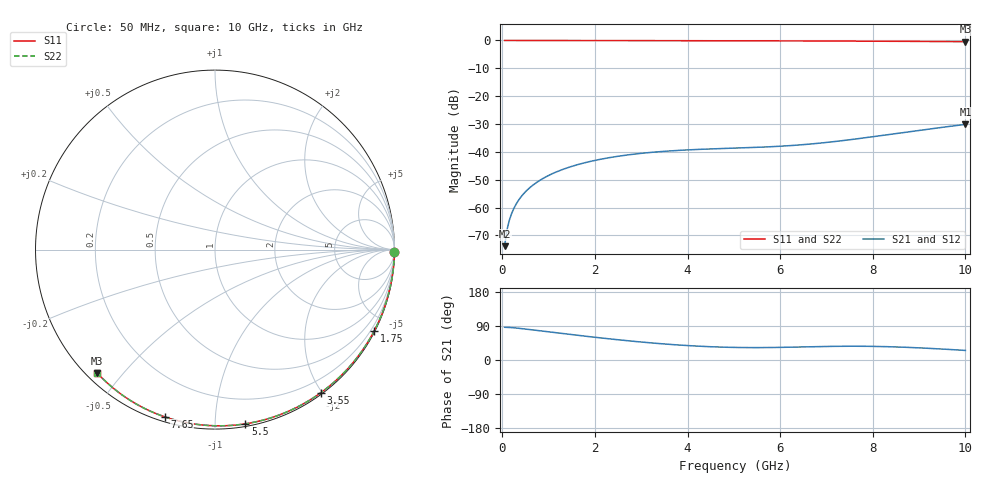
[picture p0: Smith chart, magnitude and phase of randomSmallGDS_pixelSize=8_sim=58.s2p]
! freq	dB(S11)	phase(S11)	dB(S12)	phase(S12)
!  dB(S21)	phase(S21)	dB(S22)	phase(S22)
!S-par simulation data
#  GHz  S  DB  R 50
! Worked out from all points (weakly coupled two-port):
!   200 points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, 50 MHz to 10 GHz, reference 50 ohm
!   highest |S21| = -30.13 dB at 10 GHz (marker M1); lowest = -73.8 dB at 50 MHz (marker M2)
!   lowest |S11| = -0.4 dB at 10 GHz (marker M3), VSWR 39.29, Z = 1.51 - j21.4 ohm
!   |S11| at or under -10 dB: nowhere
!   |S22| runs from -0.4 to 0.0 dB; largest |S21 - S12| = 0
!   S11 on the Smith chart (normalised r, x): 50 MHz: open; 1.75 GHz: 0.04, -4.15; 3.55 GHz: 0.02, -1.98; 5.5 GHz: 0.02, -1.19; 7.65 GHz: 0.02, -0.74; 10 GHz: 0.03, -0.43
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0.05  -0.00 -0.8  -73.84 86.4  -73.84 86.4  -0.00 -0.8
0.1  -0.00 -1.6  -68.08 86.2  -68.08 86.2  -0.00 -1.6
0.15  -0.00 -2.4  -64.65 85.9  -64.65 85.9  -0.00 -2.4
0.2  -0.00 -3.2  -62.19 85.5  -62.19 85.5  -0.00 -3.2
0.25  -0.00 -3.9  -60.27 85.0  -60.27 85.0  -0.00 -3.9
0.35  -0.00 -5.5  -57.38 83.8  -57.38 83.8  -0.00 -5.5
0.5  -0.01 -7.9  -54.32 81.7  -54.32 81.7  -0.01 -7.9
0.7  -0.01 -11.0  -51.45 78.8  -51.45 78.8  -0.01 -11.0
1  -0.02 -15.6  -48.46 74.3  -48.46 74.3  -0.02 -15.6
1.35  -0.03 -21.0  -46.02 69.2  -46.02 69.2  -0.03 -21.0
1.75  -0.03 -27.1  -44.02 63.4  -44.02 63.4  -0.03 -27.1
2.5  -0.05 -38.3  -41.57 53.4  -41.57 53.4  -0.05 -38.3
3.4  -0.07 -51.4  -39.91 43.2  -39.91 43.2  -0.07 -51.4
3.55  -0.07 -53.6  -39.73 41.8  -39.73 41.8  -0.07 -53.6
4.3  -0.09 -64.1  -39.06 36.1  -39.06 36.1  -0.09 -64.1
5.05  -0.11 -74.2  -38.63 33.1  -38.63 33.1  -0.11 -74.2
5.5  -0.13 -80.1  -38.36 32.7  -38.36 32.7  -0.13 -80.1
6.7  -0.18 -95.3  -37.11 35.1  -37.11 35.1  -0.18 -95.3
7.65  -0.24 -106.7  -35.33 36.4  -35.33 36.4  -0.24 -106.7
8.35  -0.29 -114.9  -33.76 35.0  -33.76 35.0  -0.29 -114.9
9.2  -0.36 -124.6  -31.84 30.9  -31.84 30.9  -0.36 -124.6
10  -0.44 -133.6  -30.13 25.3  -30.13 25.3  -0.44 -133.6
